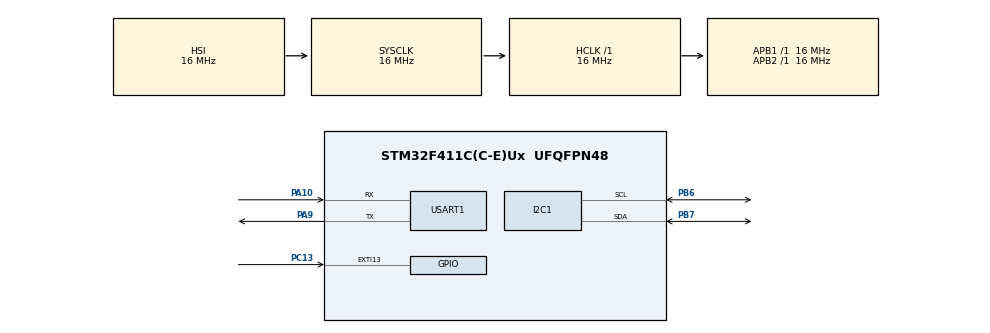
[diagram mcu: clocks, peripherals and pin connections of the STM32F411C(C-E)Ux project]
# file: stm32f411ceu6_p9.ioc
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FREERTOS.Queues01=SensorDataQueue,16,uint16_t,0,Dynamic,NULL,NULL
FREERTOS.Tasks01=defaultTask,24,128,StartDefaultTask,Default,NULL,Dynamic,NULL,NULL;SensorTask,24,128,StartTask02,Default,NULL,Dynamic,NULL,NULL;DisplayTask,8,128,StartTask03,Default,NULL,Dynamic,NULL,NULL;ButtonTask,40,128,StartTask04,Default,NULL,Dynamic,NULL,NULL
Mcu.Family=STM32F4
Mcu.Name=STM32F411C(C-E)Ux
Mcu.Package=UFQFPN48
NVIC.EXTI15_10_IRQn=true\:0\:0\:false\:false\:true\:false\:true\:true\:true
NVIC.PriorityGroup=NVIC_PRIORITYGROUP_4
PA10.Mode=Asynchronous
PA10.Signal=USART1_RX
PA9.Mode=Asynchronous
PA9.Signal=USART1_TX
PB6.Mode=I2C
PB6.Signal=I2C1_SCL
PB7.Mode=I2C
PB7.Signal=I2C1_SDA
PC13-ANTI_TAMP.GPIO_PuPd=GPIO_PULLDOWN
PC13-ANTI_TAMP.Signal=GPXTI13
ProjectManager.HeapSize=0x200
ProjectManager.StackSize=0x400
ProjectManager.TargetToolchain=STM32CubeIDE
RCC.AHBFreq_Value=16000000
RCC.APB1Freq_Value=16000000
RCC.APB2Freq_Value=16000000
RCC.CortexFreq_Value=16000000
RCC.HSE_VALUE=25000000
RCC.HSI_VALUE=16000000
RCC.LSE_VALUE=32768
RCC.SYSCLKFreq_VALUE=16000000
RCC.VCOOutputFreq_Value=192000000
USART1.VirtualMode=VM_ASYNC
VP_FREERTOS_VS_CMSIS_V2.Mode=CMSIS_V2
board=custom

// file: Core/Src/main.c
/* USER CODE BEGIN Header */
/**
  ******************************************************************************
  * @file           : main.c
  * @brief          : Main program body
  ******************************************************************************
  * @attention
  *
  * Copyright (c) 2026 STMicroelectronics.
  * All rights reserved.
  *
  * This software is licensed under terms that can be found in the LICENSE file
  * in the root directory of this software component.
  * If no LICENSE file comes with this software, it is provided AS-IS.
  *
  ******************************************************************************
  */
/* USER CODE END Header */
#include "main.h"
#include "cmsis_os.h"
#include "ssd1306.h"
#include "ssd1306_fonts.h"

I2C_HandleTypeDef hi2c1;

UART_HandleTypeDef huart1;
#include <stdio.h>

#ifdef __GNUC__

#define PUTCHAR_PROTOTYPE int __io_putchar(int ch)

#else

#define PUTCHAR_PROTOTYPE int fputc(int ch, FILE *f)

#endif

PUTCHAR_PROTOTYPE

{

    HAL_UART_Transmit(&huart1, (uint8_t *)&ch, 1, HAL_MAX_DELAY);

    return ch;

}
/* Definitions for defaultTask */
osThreadId_t defaultTaskHandle;
const osThreadAttr_t defaultTask_attributes = {
  .name = "defaultTask",
  .stack_size = 128 * 4,
  .priority = (osPriority_t) osPriorityNormal,
};
/* Definitions for SensorTask */
osThreadId_t SensorTaskHandle;
const osThreadAttr_t SensorTask_attributes = {
  .name = "SensorTask",
  .stack_size = 128 * 4,
  .priority = (osPriority_t) osPriorityNormal,
};
/* Definitions for DisplayTask */
osThreadId_t DisplayTaskHandle;
const osThreadAttr_t DisplayTask_attributes = {
  .name = "DisplayTask",
  .stack_size = 128 * 4,
  .priority = (osPriority_t) osPriorityLow,
};
/* Definitions for ButtonTask */
osThreadId_t ButtonTaskHandle;
const osThreadAttr_t ButtonTask_attributes = {
  .name = "ButtonTask",/////////////////////////////////////////////////////////////////////////////////////////////////////////
  .stack_size = 128 * 4,
  .priority = (osPriority_t) osPriorityHigh,
};
/* Definitions for SensorDataQueue */
osMessageQueueId_t SensorDataQueueHandle;
const osMessageQueueAttr_t SensorDataQueue_attributes = {
  .name = "SensorDataQueue"
};

void SystemClock_Config(void);
static void MX_GPIO_Init(void);
static void MX_I2C1_Init(void);
static void MX_USART1_UART_Init(void);
void StartDefaultTask(void *argument);
void StartTask02(void *argument);
void StartTask03(void *argument);
void StartTask04(void *argument);

typedef struct {

     float temperature;

     float humidity;

 } SensorData_t;
int main(void)
{

  /* MCU Configuration--------------------------------------------------------*/

  /* Reset of all peripherals, Initializes the Flash interface and the Systick. */
  HAL_Init();

  /* Configure the system clock */
  SystemClock_Config();

  /* Initialize all configured peripherals */
  MX_GPIO_Init();
  MX_I2C1_Init();
  MX_USART1_UART_Init();

  /* Init scheduler */
  osKernelInitialize();

  /* Create the queue(s) */
  /* creation of SensorDataQueue */
  SensorDataQueueHandle = osMessageQueueNew (16, sizeof(uint16_t), &SensorDataQueue_attributes);

  /* Create the thread(s) */
  /* creation of defaultTask */
  defaultTaskHandle = osThreadNew(StartDefaultTask, NULL, &defaultTask_attributes);

  /* creation of SensorTask */
  SensorTaskHandle = osThreadNew(StartTask02, NULL, &SensorTask_attributes);

  /* creation of DisplayTask */
  DisplayTaskHandle = osThreadNew(StartTask03, NULL, &DisplayTask_attributes);

  /* creation of ButtonTask */
  ButtonTaskHandle = osThreadNew(StartTask04, NULL, &ButtonTask_attributes);/////////////////////////StartTask04

  /* Start scheduler */
  osKernelStart();

  /* We should never get here as control is now taken by the scheduler */

  void StartSensorTask(void *argument)

  {

  }

  void StartDisplayTask(void *argument)

  {

  }

  void StartButtonTask(void *argument)

  {

  }

  /* Infinite loop */
  while (1)
  {

  }
}

void SystemClock_Config(void)
{
  RCC_OscInitTypeDef RCC_OscInitStruct = {0};
  RCC_ClkInitTypeDef RCC_ClkInitStruct = {0};

  /** Configure the main internal regulator output voltage
  */
  __HAL_RCC_PWR_CLK_ENABLE();
  __HAL_PWR_VOLTAGESCALING_CONFIG(PWR_REGULATOR_VOLTAGE_SCALE1);

  /** Initializes the RCC Oscillators according to the specified parameters
  * in the RCC_OscInitTypeDef structure.
  */
  RCC_OscInitStruct.OscillatorType = RCC_OSCILLATORTYPE_HSI;
  RCC_OscInitStruct.HSIState = RCC_HSI_ON;
  RCC_OscInitStruct.HSICalibrationValue = RCC_HSICALIBRATION_DEFAULT;
  RCC_OscInitStruct.PLL.PLLState = RCC_PLL_NONE;
  if (HAL_RCC_OscConfig(&RCC_OscInitStruct) != HAL_OK)
  {
    Error_Handler();
  }

  /** Initializes the CPU, AHB and APB buses clocks
  */
  RCC_ClkInitStruct.ClockType = RCC_CLOCKTYPE_HCLK|RCC_CLOCKTYPE_SYSCLK
                              |RCC_CLOCKTYPE_PCLK1|RCC_CLOCKTYPE_PCLK2;
  RCC_ClkInitStruct.SYSCLKSource = RCC_SYSCLKSOURCE_HSI;
  RCC_ClkInitStruct.AHBCLKDivider = RCC_SYSCLK_DIV1;
  RCC_ClkInitStruct.APB1CLKDivider = RCC_HCLK_DIV1;
  RCC_ClkInitStruct.APB2CLKDivider = RCC_HCLK_DIV1;

  if (HAL_RCC_ClockConfig(&RCC_ClkInitStruct, FLASH_LATENCY_0) != HAL_OK)
  {
    Error_Handler();
  }
}

static void MX_I2C1_Init(void)
{

  hi2c1.Instance = I2C1;
  hi2c1.Init.ClockSpeed = 100000;
  hi2c1.Init.DutyCycle = I2C_DUTYCYCLE_2;
  hi2c1.Init.OwnAddress1 = 0;
  hi2c1.Init.AddressingMode = I2C_ADDRESSINGMODE_7BIT;
  hi2c1.Init.DualAddressMode = I2C_DUALADDRESS_DISABLE;
  hi2c1.Init.OwnAddress2 = 0;
  hi2c1.Init.GeneralCallMode = I2C_GENERALCALL_DISABLE;
  hi2c1.Init.NoStretchMode = I2C_NOSTRETCH_DISABLE;
  if (HAL_I2C_Init(&hi2c1) != HAL_OK)
  {
    Error_Handler();
  }

}

static void MX_USART1_UART_Init(void)
{

  huart1.Instance = USART1;
  huart1.Init.BaudRate = 115200;
  huart1.Init.WordLength = UART_WORDLENGTH_8B;
  huart1.Init.StopBits = UART_STOPBITS_1;
  huart1.Init.Parity = UART_PARITY_NONE;
  huart1.Init.Mode = UART_MODE_TX_RX;
  huart1.Init.HwFlowCtl = UART_HWCONTROL_NONE;
  huart1.Init.OverSampling = UART_OVERSAMPLING_16;
  if (HAL_UART_Init(&huart1) != HAL_OK)
  {
    Error_Handler();
  }

}

static void MX_GPIO_Init(void)
{
  GPIO_InitTypeDef GPIO_InitStruct = {0};

  /* GPIO Ports Clock Enable */
  __HAL_RCC_GPIOC_CLK_ENABLE();
  __HAL_RCC_GPIOA_CLK_ENABLE();
  __HAL_RCC_GPIOB_CLK_ENABLE();

  /*Configure GPIO pin : PC13 */
  GPIO_InitStruct.Pin = GPIO_PIN_13;
  GPIO_InitStruct.Mode = GPIO_MODE_IT_RISING;
  GPIO_InitStruct.Pull = GPIO_PULLUP;
  HAL_GPIO_Init(GPIOC, &GPIO_InitStruct);

  /* EXTI interrupt init*/
  HAL_NVIC_SetPriority(EXTI15_10_IRQn, 0, 0);
  HAL_NVIC_EnableIRQ(EXTI15_10_IRQn);

}

void StartDefaultTask(void *argument)
{
  for(;;)
  {
    osDelay(1);
  }
}

void StartTask02(void *argument)
{
  /* USER CODE BEGIN StartTask02 */
  /* Infinite loop */
    SensorData_t data;

    for(;;)

    {

        // 讀取BME280(沿用階段七程式碼)

        //BME280_ReadData(&data.temperature, &data.humidity, NULL);

        osMessageQueuePut(SensorDataQueueHandle, &data, 0, 0);

        osDelay(1000);

    }

  /* USER CODE END StartTask02 */
}

void StartTask03(void *argument)
{
  /* USER CODE BEGIN StartTask03 */
  /* Infinite loop */
	 SensorData_t data;

	      for(;;)

	      {

	          if (osMessageQueueGet(SensorDataQueueHandle, &data, NULL, osWaitForever) == osOK)

	          {

	              // 更新OLED顯示(沿用階段八程式碼)

	              char line[32];

	              sprintf(line, "T:%.1f H:%.1f", data.temperature, data.humidity);

	              ssd1306_Fill(Black);

	              ssd1306_SetCursor(0, 0);

	              ssd1306_WriteString(line, Font_7x10, White);

	              ssd1306_UpdateScreen();

	              osDelay(500);

	              sprintf(line, "fuckkkkkkkkk", data.temperature, data.humidity);

	              ssd1306_Fill(Black);

				  ssd1306_SetCursor(0, 0);

				  ssd1306_WriteString(line, Font_7x10, White);

	              ssd1306_UpdateScreen();

	          }

	      }
  /* USER CODE END StartTask03 */
}

void StartTask04(void *argument)
{
  /* USER CODE BEGIN StartTask04 */
  /* Infinite loop */
    for(;;)

      {

          // 可用osSemaphoreAcquire等待按鈕中斷發出的Semaphore

          // 這裡簡化為輪詢示範

          if (HAL_GPIO_ReadPin(GPIOC, GPIO_PIN_13) == GPIO_PIN_RESET)

          {

              printf("Button pressed in RTOS task\r\n");

              osDelay(200);  // 簡易防彈跳

          }

          osDelay(10);

      }
  /* USER CODE END StartTask04 */
}

void Error_Handler(void)
{
  __disable_irq();
  while (1)
  {
  }
}
